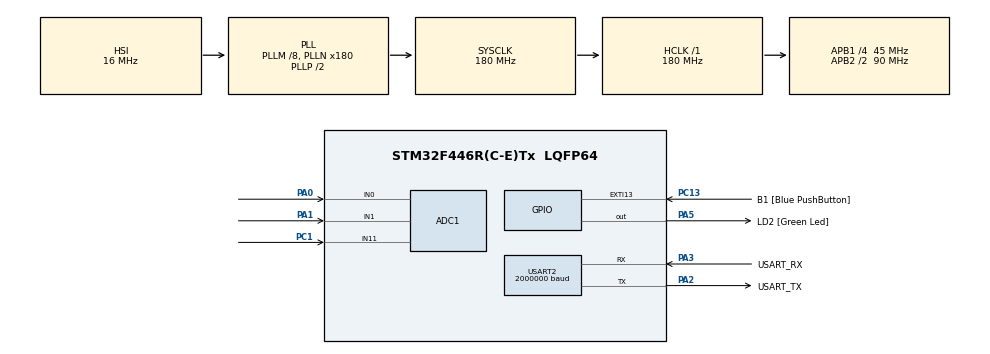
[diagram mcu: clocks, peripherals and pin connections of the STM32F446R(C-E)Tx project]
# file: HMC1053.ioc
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Mcu.Family=STM32F4
PH0-OSC_IN.Signal=RCC_OSC_IN
RCC.CortexFreq_Value=180000000
ADC1.ContinuousConvMode=DISABLE
PA14.GPIO_Label=TCK
PC13.GPIO_Label=B1 [Blue PushButton]
RCC.SYSCLKSource=RCC_SYSCLKSOURCE_PLLCLK
ProjectManager.StackSize=0x400
NVIC.ADC_IRQn=true\:0\:0\:false\:false\:true\:true\:true
RCC.HCLKFreq_Value=180000000
RCC.APB2TimFreq_Value=180000000
Dma.ADC1.0.Direction=DMA_PERIPH_TO_MEMORY
ADC1.Channel-2\#ChannelRegularConversion=ADC_CHANNEL_11
NVIC.DMA2_Stream0_IRQn=true\:0\:0\:false\:false\:true\:false\:true
Dma.ADC1.0.MemDataAlignment=DMA_MDATAALIGN_WORD
RCC.AHBFreq_Value=180000000
PH0-OSC_IN.Mode=HSE-External-Oscillator
ADC1.Channel-0\#ChannelRegularConversion=ADC_CHANNEL_0
RCC.HSE_VALUE=8000000
ADC1.Rank-2\#ChannelRegularConversion=3
PC14-OSC32_IN.Mode=LSE-External-Oscillator
PA14.Mode=Serial_Wire
Dma.ADC1.0.PeriphInc=DMA_PINC_DISABLE
SH.ADCx_IN0.0=ADC1_IN0,IN0
ADC1.SamplingTime-0\#ChannelRegularConversion=ADC_SAMPLETIME_15CYCLES
RCC.FLatency-AdvancedSettings=FLASH_LATENCY_5
PH1-OSC_OUT.Mode=HSE-External-Oscillator
Mcu.Package=LQFP64
TIM2.Prescaler=90-1
USART2.VirtualMode=VM_ASYNC
PA2.GPIO_Label=USART_TX
TIM2.TIM_MasterOutputTrigger=TIM_TRGO_UPDATE
RCC.APB2CLKDivider=RCC_HCLK_DIV2
SH.ADCx_IN1.0=ADC1_IN1,IN1
RCC.APB1TimFreq_Value=90000000
Dma.ADC1.0.FIFOMode=DMA_FIFOMODE_DISABLE
Dma.Request0=ADC1
ADC1.EOCSelection=ADC_EOC_SEQ_CONV
PA3.Signal=USART2_RX
PB3.GPIO_Label=SWO
PC15-OSC32_OUT.Mode=LSE-External-Oscillator
Dma.ADC1.0.Instance=DMA2_Stream0
ADC1.Rank-0\#ChannelRegularConversion=1
PC13.Signal=GPXTI13
RCC.APB1CLKDivider=RCC_HCLK_DIV4
PC14-OSC32_IN.Signal=RCC_OSC32_IN
NVIC.USART2_IRQn=true\:0\:0\:false\:false\:true\:true\:true
USART2.BaudRate=2000000
ADC1.SamplingTime-2\#ChannelRegularConversion=ADC_SAMPLETIME_15CYCLES
PA0-WKUP.Signal=ADCx_IN0
PA13.Signal=SYS_JTMS-SWDIO
PA3.Mode=Asynchronous
Dma.ADC1.0.PeriphDataAlignment=DMA_PDATAALIGN_WORD
ProjectManager.TargetToolchain=STM32CubeIDE
Dma.ADC1.0.Mode=DMA_CIRCULAR
Dma.ADC1.0.Priority=DMA_PRIORITY_LOW
ADC1.Channel-1\#ChannelRegularConversion=ADC_CHANNEL_1
RCC.USBFreq_Value=180000000
PC15-OSC32_OUT.Signal=RCC_OSC32_OUT
PA1.Signal=ADCx_IN1
PA5.Signal=GPIO_Output
board=NUCLEO-F446RE
RCC.VCOOutputFreq_Value=360000000
RCC.APB2Freq_Value=90000000
SH.ADCx_IN11.0=ADC1_IN11,IN11
VP_TIM2_VS_ClockSourceINT.Mode=Internal
PH1-OSC_OUT.Signal=RCC_OSC_OUT
ADC1.DMAContinuousRequests=ENABLE
TIM2.Period=1000-1
ADC1.NbrOfConversion=3
PA13.Mode=Serial_Wire
Mcu.Name=STM32F446R(C-E)Tx
PA2.Signal=USART2_TX
PA13.GPIO_Label=TMS
ADC1.ExternalTrigConv=ADC_EXTERNALTRIGCONV_T2_TRGO
RCC.48MHZClocksFreq_Value=84000000
PB3.Signal=SYS_JTDO-SWO
ADC1.SamplingTime-1\#ChannelRegularConversion=ADC_SAMPLETIME_15CYCLES
RCC.SYSCLKFreq_VALUE=180000000
ADC1.master=1
PA5.GPIO_Label=LD2 [Green Led]
PC13.GPIO_ModeDefaultEXTI=GPIO_MODE_IT_FALLING
ADC1.Rank-1\#ChannelRegularConversion=2
PA14.Signal=SYS_JTCK-SWCLK
Dma.ADC1.0.MemInc=DMA_MINC_ENABLE
ProjectManager.HeapSize=0x200
RCC.HSI_VALUE=16000000
NVIC.PriorityGroup=NVIC_PRIORITYGROUP_0
ADC1.NbrOfConversionFlag=1
RCC.PLLM=8
RCC.PLLN=180
PA2.Mode=Asynchronous
TIM2.AutoReloadPreload=TIM_AUTORELOAD_PRELOAD_ENABLE
RCC.APB1Freq_Value=45000000
PC1.Signal=ADCx_IN11
PA3.GPIO_Label=USART_RX

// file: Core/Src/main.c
/* USER CODE BEGIN Header */
/**
  ******************************************************************************
  * @file           : main.c
  * @brief          : Main program body
  ******************************************************************************
  * @attention
  *
  * <h2><center>&copy; Copyright (c) 2021 STMicroelectronics.
  * All rights reserved.</center></h2>
  *
  * This software component is licensed by ST under BSD 3-Clause license,
  * the "License"; You may not use this file except in compliance with the
  * License. You may obtain a copy of the License at:
  *                        opensource.org/licenses/BSD-3-Clause
  *
  ******************************************************************************
  */
/* USER CODE END Header */
#include "main.h"

/* USER CODE BEGIN Includes */
#include "math.h"
#include "string.h"
#include "stdio.h"
#include "stdlib.h"
/* USER CODE END Includes */

ADC_HandleTypeDef hadc1;
DMA_HandleTypeDef hdma_adc1;

TIM_HandleTypeDef htim2;

UART_HandleTypeDef huart2;

/* USER CODE BEGIN PV */
uint32_t adc_value[3]; //vector de tres posiciones porque tenemos 3 canales
float va, vb, vc;

uint32_t milisegundos;

uint32_t milisegundos_TIM2;

uint8_t msgLength;

char msg[50];

/* USER CODE END PV */

void SystemClock_Config(void);
static void MX_GPIO_Init(void);
static void MX_DMA_Init(void);
static void MX_USART2_UART_Init(void);
static void MX_ADC1_Init(void);
static void MX_TIM2_Init(void);

/* USER CODE BEGIN 0 */
void HAL_ADC_ConvCpltCallback (ADC_HandleTypeDef * hadc){

	 msgLength=sprintf(msg, "%d, %d, %d, %d \r\n",  adc_value[0],adc_value[1], adc_value[2], milisegundos);
	 HAL_UART_Transmit(&huart2, (uint8_t*) msg, msgLength, 10);

}
/* USER CODE END 0 */

int main(void)
{

  /* MCU Configuration--------------------------------------------------------*/

  /* Reset of all peripherals, Initializes the Flash interface and the Systick. */
  HAL_Init();

  /* Configure the system clock */
  SystemClock_Config();

  /* Initialize all configured peripherals */
  MX_GPIO_Init();
  MX_DMA_Init();
  MX_USART2_UART_Init();
  MX_ADC1_Init();
  MX_TIM2_Init();
  /* USER CODE BEGIN 2 */

  HAL_TIM_Base_Start(&htim2);
  HAL_ADC_Start_DMA(&hadc1, adc_value, 3); // LONGITUD DE 3 NUMERO DE CANALES QUE ETSAMOS CONVIRTIENDO

 // HAL_ADC_Start_IT(&hadc1);
 // HAL_TIM_Base_Start_IT(&htim2);//timer adc
  SysTick_Config(SystemCoreClock / 1000);  // LA INTERRUPCIÓN SALTA CADA 1MS-> variable para ver cada cuanto enviamos por la uart

  /* USER CODE END 2 */

  /* Infinite loop */
  while (1)
  {

  }
}

void SystemClock_Config(void)
{
  RCC_OscInitTypeDef RCC_OscInitStruct = {0};
  RCC_ClkInitTypeDef RCC_ClkInitStruct = {0};

  /** Configure the main internal regulator output voltage
  */
  __HAL_RCC_PWR_CLK_ENABLE();
  __HAL_PWR_VOLTAGESCALING_CONFIG(PWR_REGULATOR_VOLTAGE_SCALE1);
  /** Initializes the RCC Oscillators according to the specified parameters
  * in the RCC_OscInitTypeDef structure.
  */
  RCC_OscInitStruct.OscillatorType = RCC_OSCILLATORTYPE_HSI;
  RCC_OscInitStruct.HSIState = RCC_HSI_ON;
  RCC_OscInitStruct.HSICalibrationValue = RCC_HSICALIBRATION_DEFAULT;
  RCC_OscInitStruct.PLL.PLLState = RCC_PLL_ON;
  RCC_OscInitStruct.PLL.PLLSource = RCC_PLLSOURCE_HSI;
  RCC_OscInitStruct.PLL.PLLM = 8;
  RCC_OscInitStruct.PLL.PLLN = 180;
  RCC_OscInitStruct.PLL.PLLP = RCC_PLLP_DIV2;
  RCC_OscInitStruct.PLL.PLLQ = 2;
  RCC_OscInitStruct.PLL.PLLR = 2;
  if (HAL_RCC_OscConfig(&RCC_OscInitStruct) != HAL_OK)
  {
    Error_Handler();
  }
  /** Activate the Over-Drive mode
  */
  if (HAL_PWREx_EnableOverDrive() != HAL_OK)
  {
    Error_Handler();
  }
  /** Initializes the CPU, AHB and APB buses clocks
  */
  RCC_ClkInitStruct.ClockType = RCC_CLOCKTYPE_HCLK|RCC_CLOCKTYPE_SYSCLK
                              |RCC_CLOCKTYPE_PCLK1|RCC_CLOCKTYPE_PCLK2;
  RCC_ClkInitStruct.SYSCLKSource = RCC_SYSCLKSOURCE_PLLCLK;
  RCC_ClkInitStruct.AHBCLKDivider = RCC_SYSCLK_DIV1;
  RCC_ClkInitStruct.APB1CLKDivider = RCC_HCLK_DIV4;
  RCC_ClkInitStruct.APB2CLKDivider = RCC_HCLK_DIV2;

  if (HAL_RCC_ClockConfig(&RCC_ClkInitStruct, FLASH_LATENCY_5) != HAL_OK)
  {
    Error_Handler();
  }
}

static void MX_ADC1_Init(void)
{

  ADC_ChannelConfTypeDef sConfig = {0};

  /** Configure the global features of the ADC (Clock, Resolution, Data Alignment and number of conversion)
  */
  hadc1.Instance = ADC1;
  hadc1.Init.ClockPrescaler = ADC_CLOCK_SYNC_PCLK_DIV4;
  hadc1.Init.Resolution = ADC_RESOLUTION_12B;
  hadc1.Init.ScanConvMode = ENABLE;
  hadc1.Init.ContinuousConvMode = DISABLE;
  hadc1.Init.DiscontinuousConvMode = DISABLE;
  hadc1.Init.ExternalTrigConvEdge = ADC_EXTERNALTRIGCONVEDGE_RISING;
  hadc1.Init.ExternalTrigConv = ADC_EXTERNALTRIGCONV_T2_TRGO;
  hadc1.Init.DataAlign = ADC_DATAALIGN_RIGHT;
  hadc1.Init.NbrOfConversion = 3;
  hadc1.Init.DMAContinuousRequests = ENABLE;
  hadc1.Init.EOCSelection = ADC_EOC_SEQ_CONV;
  if (HAL_ADC_Init(&hadc1) != HAL_OK)
  {
    Error_Handler();
  }
  /** Configure for the selected ADC regular channel its corresponding rank in the sequencer and its sample time.
  */
  sConfig.Channel = ADC_CHANNEL_0;
  sConfig.Rank = 1;
  sConfig.SamplingTime = ADC_SAMPLETIME_15CYCLES;
  if (HAL_ADC_ConfigChannel(&hadc1, &sConfig) != HAL_OK)
  {
    Error_Handler();
  }
  /** Configure for the selected ADC regular channel its corresponding rank in the sequencer and its sample time.
  */
  sConfig.Channel = ADC_CHANNEL_1;
  sConfig.Rank = 2;
  if (HAL_ADC_ConfigChannel(&hadc1, &sConfig) != HAL_OK)
  {
    Error_Handler();
  }
  /** Configure for the selected ADC regular channel its corresponding rank in the sequencer and its sample time.
  */
  sConfig.Channel = ADC_CHANNEL_11;
  sConfig.Rank = 3;
  if (HAL_ADC_ConfigChannel(&hadc1, &sConfig) != HAL_OK)
  {
    Error_Handler();
  }

}

static void MX_TIM2_Init(void)
{

  TIM_ClockConfigTypeDef sClockSourceConfig = {0};
  TIM_MasterConfigTypeDef sMasterConfig = {0};

  htim2.Instance = TIM2;
  htim2.Init.Prescaler = 90-1;
  htim2.Init.CounterMode = TIM_COUNTERMODE_UP;
  htim2.Init.Period = 1000-1;
  htim2.Init.ClockDivision = TIM_CLOCKDIVISION_DIV1;
  htim2.Init.AutoReloadPreload = TIM_AUTORELOAD_PRELOAD_ENABLE;
  if (HAL_TIM_Base_Init(&htim2) != HAL_OK)
  {
    Error_Handler();
  }
  sClockSourceConfig.ClockSource = TIM_CLOCKSOURCE_INTERNAL;
  if (HAL_TIM_ConfigClockSource(&htim2, &sClockSourceConfig) != HAL_OK)
  {
    Error_Handler();
  }
  sMasterConfig.MasterOutputTrigger = TIM_TRGO_UPDATE;
  sMasterConfig.MasterSlaveMode = TIM_MASTERSLAVEMODE_DISABLE;
  if (HAL_TIMEx_MasterConfigSynchronization(&htim2, &sMasterConfig) != HAL_OK)
  {
    Error_Handler();
  }

}

static void MX_USART2_UART_Init(void)
{

  huart2.Instance = USART2;
  huart2.Init.BaudRate = 2000000;
  huart2.Init.WordLength = UART_WORDLENGTH_8B;
  huart2.Init.StopBits = UART_STOPBITS_1;
  huart2.Init.Parity = UART_PARITY_NONE;
  huart2.Init.Mode = UART_MODE_TX_RX;
  huart2.Init.HwFlowCtl = UART_HWCONTROL_NONE;
  huart2.Init.OverSampling = UART_OVERSAMPLING_16;
  if (HAL_UART_Init(&huart2) != HAL_OK)
  {
    Error_Handler();
  }

}

static void MX_DMA_Init(void)
{

  /* DMA controller clock enable */
  __HAL_RCC_DMA2_CLK_ENABLE();

  /* DMA interrupt init */
  /* DMA2_Stream0_IRQn interrupt configuration */
  HAL_NVIC_SetPriority(DMA2_Stream0_IRQn, 0, 0);
  HAL_NVIC_EnableIRQ(DMA2_Stream0_IRQn);

}

static void MX_GPIO_Init(void)
{
  GPIO_InitTypeDef GPIO_InitStruct = {0};

  /* GPIO Ports Clock Enable */
  __HAL_RCC_GPIOC_CLK_ENABLE();
  __HAL_RCC_GPIOH_CLK_ENABLE();
  __HAL_RCC_GPIOA_CLK_ENABLE();
  __HAL_RCC_GPIOB_CLK_ENABLE();

  /*Configure GPIO pin Output Level */
  HAL_GPIO_WritePin(LD2_GPIO_Port, LD2_Pin, GPIO_PIN_RESET);

  /*Configure GPIO pin : B1_Pin */
  GPIO_InitStruct.Pin = B1_Pin;
  GPIO_InitStruct.Mode = GPIO_MODE_IT_FALLING;
  GPIO_InitStruct.Pull = GPIO_NOPULL;
  HAL_GPIO_Init(B1_GPIO_Port, &GPIO_InitStruct);

  /*Configure GPIO pin : LD2_Pin */
  GPIO_InitStruct.Pin = LD2_Pin;
  GPIO_InitStruct.Mode = GPIO_MODE_OUTPUT_PP;
  GPIO_InitStruct.Pull = GPIO_NOPULL;
  GPIO_InitStruct.Speed = GPIO_SPEED_FREQ_LOW;
  HAL_GPIO_Init(LD2_GPIO_Port, &GPIO_InitStruct);

}

void Error_Handler(void)
{
  __disable_irq();
  while (1)
  {
  }
}

/************************ (C) COPYRIGHT STMicroelectronics *****END OF FILE****/
